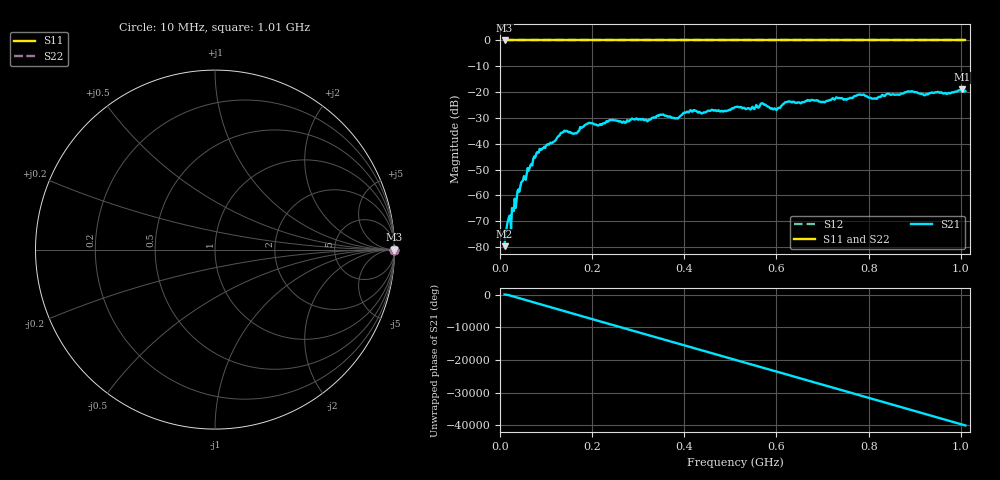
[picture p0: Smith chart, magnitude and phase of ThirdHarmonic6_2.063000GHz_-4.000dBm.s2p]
! 8/17/2025 12:43:01 AM
! C:\ANRITSUVNA\TEMP\TEMP.S2P
! CHANNEL.1
! TR.MEASUREMENT
! RAW.DATA
! RF.CORRECTION.OFF
! AVERAGING.OFF
! IF.BANDWIDTH: 5KHZ
! SWEEPTYPE:  FREQ.SWEEP(Linear)
! Reference Plane Port Info
! PORT:  PORT1  PORT2
! DISTANCE:  0  m  0  m
! TIME:  0  s  0  s
! PHASE.OFFSET:  0  deg.  0  deg.
! LOSS:  0  dB  0  dB
! REF.LOSS:  0  dB  0  dB
! REF.FREQ:  0  Hz  0  Hz
! Power Info
! POWER:  -20  dBm  -20  dBm
! EFF.POWER:  -20  dBm  -20  dBm
! SOURCE.ATTEN:  0  dB  0  dB
! TEST.ATTEN:  0  dB  0  dB
# GHZ S RI R 50.0
! FREQ.GHZ  S11RE  S11IM  S21RE  S21IM  S12RE  S12IM  S22RE  S22IM
!; PortSelection: Port_12
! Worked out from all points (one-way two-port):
!   501 points, 10 MHz to 1.01 GHz, reference 50 ohm
!   highest |S21| = -18.98 dB at 1.002 GHz (marker M1); lowest = -79.7 dB at 10 MHz (marker M2)
!   lowest |S11| = 0.0 dB at 10 MHz (marker M3)
!   |S11| at or under -10 dB: nowhere
!   |S22| runs from 0.0 to 0.0 dB; largest |S21 - S12| = 1.1
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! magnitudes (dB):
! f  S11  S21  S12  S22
! 10 MHz  0.0  -79.7  0.0  0.0
! 16 MHz  0.0  -70.7  0.0  0.0
! 26 MHz  0.0  -64.9  0.0  0.0
! 42 MHz  0.0  -58.6  0.0  0.0
! 78 MHz  0.0  -44.3  0.0  0.0
! 136 MHz  0.0  -35.6  0.0  0.0
! 164 MHz  0.0  -35.9  0.0  0.0
! 178 MHz  0.0  -33.7  0.0  0.0
! 322 MHz  0.0  -30.9  0.0  0.0
! 344 MHz  0.0  -29.2  0.0  0.0
! 382 MHz  0.0  -30.1  0.0  0.0
! 416 MHz  0.0  -27.5  0.0  0.0
! 510 MHz  0.0  -25.9  0.0  0.0
! 570 MHz  0.0  -24.3  0.0  0.0
! 598 MHz  0.0  -26.6  0.0  0.0
! 622 MHz  0.0  -23.8  0.0  0.0
! 678 MHz  0.0  -23.1  0.0  0.0
! 780 MHz  0.0  -21.0  0.0  0.0
! 814 MHz  0.0  -22.4  0.0  0.0
! 844 MHz  0.0  -20.7  0.0  0.0
! 1.002 GHz  0.0  -19.0  0.0  0.0
! 1.01 GHz  0.0  -19.6  0.0  0.0
